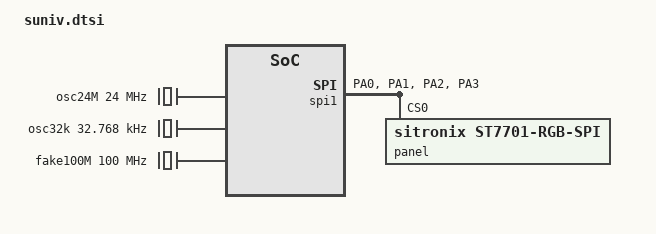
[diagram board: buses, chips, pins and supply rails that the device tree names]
// SPDX-License-Identifier: (GPL-2.0+ OR X11)
/*
 * Copyright 2018 Icenowy Zheng <icenowy@aosc.io>
 */

#include <dt-bindings/clock/suniv-ccu.h>
#include <dt-bindings/reset/suniv-ccu.h>
#include <dt-bindings/gpio/gpio.h>

/ {
	#address-cells = <1>;
	#size-cells = <1>;
	interrupt-parent = <&intc>;

	clocks {
		#address-cells = <1>;
		#size-cells = <1>;
		ranges;

		osc24M: clk-24M {
			#clock-cells = <0>;
			compatible = "fixed-clock";
			clock-frequency = <24000000>;
			clock-output-names = "osc24M";
		};

		osc32k: clk-32k {
			#clock-cells = <0>;
			compatible = "fixed-clock";
			clock-frequency = <32768>;
			clock-output-names = "osc32k";
		};

		fake100M: clk-100M {
			#clock-cells = <0>;
			compatible = "fixed-clock";
			clock-frequency = <100000000>;
			clock-output-names = "fake-100M";
		};
	};

	cpus {
		#address-cells = <0>;
		#size-cells = <0>;

		cpu {
			compatible = "arm,arm926ej-s";
			device_type = "cpu";
		};
	};

	soc {
		compatible = "simple-bus";
		#address-cells = <1>;
		#size-cells = <1>;
		ranges;

		sram-controller@1c00000 {
			compatible = "allwinner,sun4i-a10-sram-controller";
			reg = <0x01c00000 0x30>;
			#address-cells = <1>;
			#size-cells = <1>;
			ranges;

			sram_d: sram@10000 {
				compatible = "mmio-sram";
				reg = <0x00010000 0x1000>;
				#address-cells = <1>;
				#size-cells = <1>;
				ranges = <0 0x00010000 0x1000>;

				otg_sram: sram-section@0 {
					compatible = "allwinner,sun4i-a10-sram-d";
					reg = <0x0000 0x1000>;
					status = "disabled";
				};
			};
		};

		spi0: spi@1c05000 {
			compatible = "allwinner,suniv-spi",
				     "allwinner,sun8i-h3-spi";
			reg = <0x01c05000 0x1000>;
			interrupts = <10>;
			clocks = <&ccu CLK_BUS_SPI0>, <&ccu CLK_BUS_SPI0>;
			clock-names = "ahb", "mod";
			resets = <&ccu RST_BUS_SPI0>;
			status = "disabled";
			#address-cells = <1>;
			#size-cells = <0>;
		};

		spi1: spi@1c06000 {
			compatible = "allwinner,suniv-spi",
				     "allwinner,sun8i-h3-spi";
			reg = <0x01c06000 0x1000>;
			interrupts = <11>;
			clocks = <&ccu CLK_BUS_SPI1>, <&ccu CLK_BUS_SPI1>;
			clock-names = "ahb", "mod";
			resets = <&ccu RST_BUS_SPI1>;
			pinctrl-names = "default";
			pinctrl-0 = <&spi1_pins_a>;
			status = "okay";
			#address-cells = <1>;
			#size-cells = <0>;

			spi-max-frequency = <32000000>;
			sitronix,init-sequence = /bits/ 8 <
				0x01 0xFF 0x05 0x77 0x01 0x00 0x00 0x13 0x01 0xEF 0x01 0x08 0x01 0xFF 0x05 0x77
				0x01 0x00 0x00 0x10 0x01 0xC0 0x02 0x3B 0x00 0x01 0xC1 0x02 0x10 0x0C 0x01
				0xC2 0x02 0x07 0x0A 0x01 0xC7 0x01 0x04 0x01 0xCC 0x01 0x10 0x01 0xB0 0x10
				0x05 0x12 0x98 0x0E 0x0F 0x07 0x07 0x09 0x09 0x23 0x05 0x52 0x0F 0x67 0x2C
				0x11 0x01 0xB1 0x10 0x0B 0x11 0x97 0x0C 0x12 0x06 0x06 0x08 0x08 0x22 0x03
				0x51 0x11 0x66 0x2B 0x0F 0x01 0xFF 0x05 0x77 0x01 0x00 0x00 0x11 0x01 0xB0
				0x01 0x5D 0x01 0xB1 0x01 0x2D 0x01 0xB2 0x01 0x81 0x01 0xB3 0x01 0x80 0x01
				0xB5 0x01 0x4E 0x01 0xB7 0x01 0x85 0x01 0xB8 0x01 0x20 0x01 0xC1 0x01 0x78
				0x01 0xC2 0x01 0x78 0x01 0xD0 0x01 0x88 0x01 0xE0 0x03 0x00 0x00 0x02 0x01
				0xE1 0x0B 0x06 0x30 0x08 0x30 0x05 0x30 0x07 0x30 0x00 0x33 0x33 0x01 0xE2
				0x0C 0x11 0x11 0x33 0x33 0xF4 0x00 0x00 0x00 0xF4 0x00 0x00 0x00 0x01 0xE3
				0x04 0x00 0x00 0x11 0x11 0x01 0xE4 0x02 0x44 0x44 0x01 0xE5 0x10 0x0D 0xF5
				0x30 0xF0 0x0F 0xF7 0x30 0xF0 0x09 0xF1 0x30 0xF0 0x0B 0xF3 0x30 0xF0 0x01
				0xE6 0x04 0x00 0x00 0x11 0x11 0x01 0xE7 0x02 0x44 0x44 0x01 0xE8 0x10 0x0C
				0xF4 0x30 0xF0 0x0E 0xF6 0x30 0xF0 0x08 0xF0 0x30 0xF0 0x0A 0xF2 0x30 0xF0
				0x01 0xE9 0x02 0x36 0x01 0x01 0xEB 0x07 0x00 0x01 0xE4 0xE4 0x44 0x88 0x40
				0x01 0xED 0x10 0xFF 0x10 0xAF 0x76 0x54 0x2B 0xCF 0xFF 0xFF 0xFC 0xB2 0x45
				0x67 0xFA 0x01 0xFF 0x01 0xEF 0x06 0x08 0x08 0x08 0x45 0x3F 0x54 0x01 0xFF
				0x05 0x77 0x01 0x00 0x00 0x00 0x01 0x3A 0x01 0x66 0x01 0x36 0x01 0x00 0x01
				0x35 0x01 0x00
			>;

			panel@0 {
				compatible = "sitronix,st7701-rgb-spi";
				reg = <0>;
				bus-width = <24>;
				width-mm = <154>;
				height-mm = <86>;
				display-timings {
					native-mode = <&timing0>;
					timing0: timing0 {
						clock-frequency = <33000000>;
						hactive = <800>;
						vactive = <480>;
						hsync-len = <1>;
						hfront-porch = <40>;
						hback-porch = <88>;
						vsync-len = <1>;
						vfront-porch = <13>;
						vback-porch = <31>;
						hsync-active = <0>;
						vsync-active = <0>;
						de-active = <1>;
						pixelclk-active = <0>;
					};
				};
			};
		};

		ccu: clock@1c20000 {
			compatible = "allwinner,suniv-ccu";
			reg = <0x01c20000 0x400>;
			clocks = <&osc24M>, <&osc32k>;
			clock-names = "hosc", "losc";
			#clock-cells = <1>;
			#reset-cells = <1>;
		};

		intc: interrupt-controller@1c20400 {
			compatible = "allwinner,suniv-ic";
			reg = <0x01c20400 0x400>;
			interrupt-controller;
			#interrupt-cells = <1>;
		};

		pio: pinctrl@1c20800 {
			compatible = "allwinner,suniv-pinctrl";
			reg = <0x01c20800 0x400>;
			interrupts = <38>, <39>, <40>;
			clocks = <&ccu CLK_BUS_PIO>, <&osc24M>, <&osc32k>;
			clock-names = "apb", "hosc", "losc";
			gpio-controller;
			interrupt-controller;
			#interrupt-cells = <3>;
			#gpio-cells = <3>;

			spi0_pins_a: spi0-pins-pc {
				pins = "PC0", "PC1", "PC2", "PC3";
				function = "spi0";
			};

			spi1_pins_a: spi1-pins-pa {
				pins = "PA0", "PA1", "PA2", "PA3";
				function = "spi1";
			};

			uart0_pins_a: uart-pins-pe {
				pins = "PE0", "PE1";
				function = "uart0";
			};
		};

		timer@1c20c00 {
			compatible = "allwinner,sun4i-a10-timer";
			reg = <0x01c20c00 0x90>;
			interrupts = <13>;
			clocks = <&osc24M>;
		};

		wdt: watchdog@1c20ca0 {
			compatible = "allwinner,sun6i-a31-wdt";
			reg = <0x01c20ca0 0x20>;
		};

		uart0: serial@1c25000 {
			compatible = "snps,dw-apb-uart";
			reg = <0x01c25000 0x400>;
			interrupts = <1>;
			reg-shift = <2>;
			reg-io-width = <4>;
			clocks = <&ccu CLK_BUS_UART0>;
			resets = <&ccu RST_BUS_UART0>;
			status = "disabled";
		};

		uart1: serial@1c25400 {
			compatible = "snps,dw-apb-uart";
			reg = <0x01c25400 0x400>;
			interrupts = <2>;
			reg-shift = <2>;
			reg-io-width = <4>;
			clocks = <&ccu CLK_BUS_UART1>;
			resets = <&ccu RST_BUS_UART1>;
			status = "disabled";
		};

		uart2: serial@1c25800 {
			compatible = "snps,dw-apb-uart";
			reg = <0x01c25800 0x400>;
			interrupts = <3>;
			reg-shift = <2>;
			reg-io-width = <4>;
			clocks = <&ccu CLK_BUS_UART2>;
			resets = <&ccu RST_BUS_UART2>;
			status = "disabled";
		};

		usb_otg: usb@1c13000 {
			compatible = "allwinner,suniv-musb";
			reg = <0x01c13000 0x0400>;
			clocks = <&ccu CLK_BUS_OTG>;
			resets = <&ccu RST_BUS_OTG>;
			interrupts = <26>;
			interrupt-names = "mc";
			phys = <&usbphy 0>;
			phy-names = "usb";
			extcon = <&usbphy 0>;
			allwinner,sram = <&otg_sram 1>;
			status = "disabled";
		};

		usbphy: phy@1c13400 {
			compatible = "allwinner,suniv-usb-phy";
			reg = <0x01c13400 0x10>;
			reg-names = "phy_ctrl";
			clocks = <&ccu CLK_USB_PHY0>;
			clock-names = "usb0_phy";
			resets = <&ccu RST_USB_PHY0>;
			reset-names = "usb0_reset";
			#phy-cells = <1>;
			status = "disabled";
		};
	};
};
